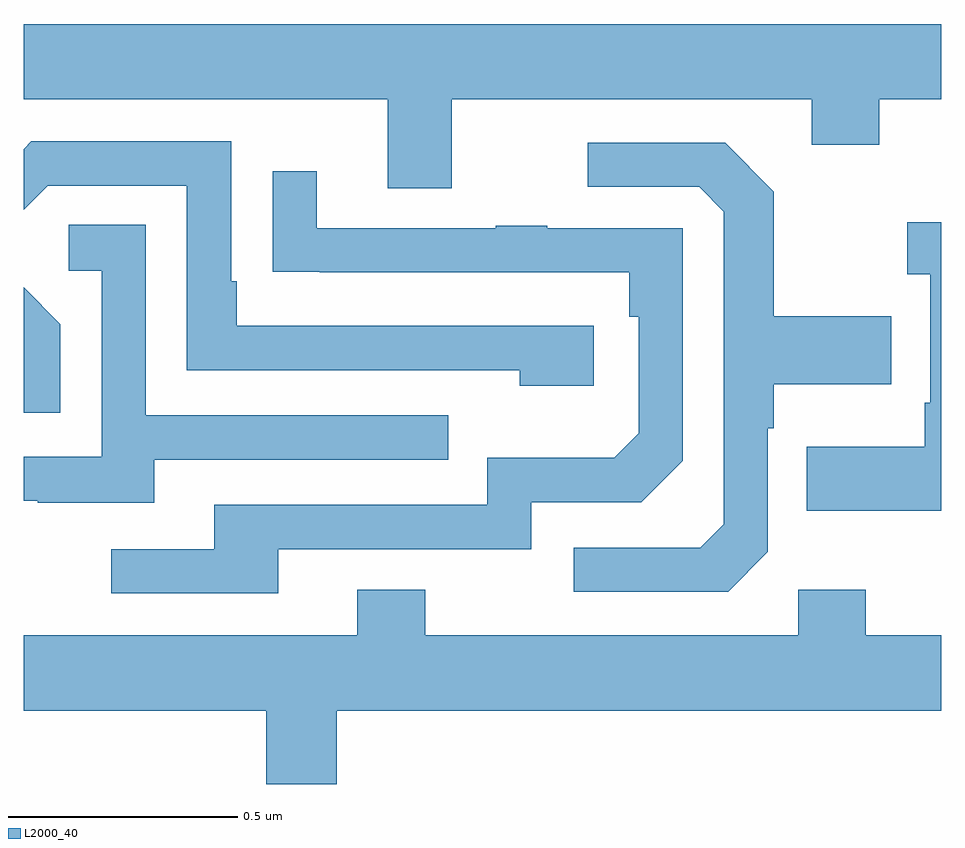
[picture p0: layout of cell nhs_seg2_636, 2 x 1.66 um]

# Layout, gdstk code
import gdstk
lib = gdstk.Library(unit=1e-6, precision=1e-09)
def P(c, l, *ps):  # polygons
    for p in ps: c.add(gdstk.Polygon(p, *l))
L2000_40 = (2000, 40)

nhs_seg2_636 = lib.new_cell('nhs_seg2_636')
P(nhs_seg2_636, L2000_40, [(118.933,658.292),(119.717,658.292),(119.717,658.193),(119.865,658.193),(119.865,658.292),(120,658.292),(120,658.456),(118,658.456),(118,658.292),(118.793,658.292),(118.793,658.098),(118.933,658.098)],
  [(119.242,657.798),(118.465,657.798),(118.465,657.895),(118.452,657.895),(118.452,658.2),(118.017,658.2),(118,658.183),(118,658.051),(118.053,658.104),(118.356,658.104),(118.356,657.702),(119.081,657.702),(119.081,657.668),(119.242,657.668)],
  [(119.622,657.306),(119.622,657.575),(119.635,657.575),(119.635,657.671),(119.891,657.671),(119.891,657.819),(119.635,657.819),(119.635,658.091),(119.529,658.197),(119.229,658.197),(119.229,658.101),(119.472,658.101),(119.526,658.047),(119.526,657.366),(119.475,657.315),(119.199,657.315),(119.199,657.219),(119.535,657.219)],
  [(118.555,657.312),(119.106,657.312),(119.106,657.414),(119.346,657.414),(119.436,657.504),(119.436,658.011),(119.141,658.011),(119.141,658.016),(119.029,658.016),(119.029,658.011),(118.639,658.011),(118.639,658.135),(118.543,658.135),(118.543,657.916),(118.645,657.916),(118.645,657.915),(119.32,657.915),(119.32,657.818),(119.34,657.818),(119.34,657.564),(119.287,657.511),(119.01,657.511),(119.01,657.408),(118.415,657.408),(118.415,657.312),(118.191,657.312),(118.191,657.216),(118.555,657.216)],
  [(120,658.024),(119.925,658.024),(119.925,657.911),(119.976,657.911),(119.976,657.631),(119.964,657.631),(119.964,657.535),(119.707,657.535),(119.707,657.395),(120,657.395)],
  [(118.285,657.507),(118.925,657.507),(118.925,657.603),(118.266,657.603),(118.266,658.019),(118.098,658.019),(118.098,657.918),(118.17,657.918),(118.17,657.513),(118,657.513),(118,657.417),(118.031,657.417),(118.031,657.413),(118.285,657.413)],
  [(118.08,657.802),(118,657.882),(118,657.609),(118.08,657.609)],
  [(118.682,656.96),(120,656.96),(120,657.124),(119.835,657.124),(119.835,657.223),(119.688,657.223),(119.688,657.124),(118.875,657.124),(118.875,657.223),(118.727,657.223),(118.727,657.124),(118,657.124),(118,656.96),(118.529,656.96),(118.529,656.8),(118.682,656.8)])

lib.write_gds('nhs_seg2_636.gds')
